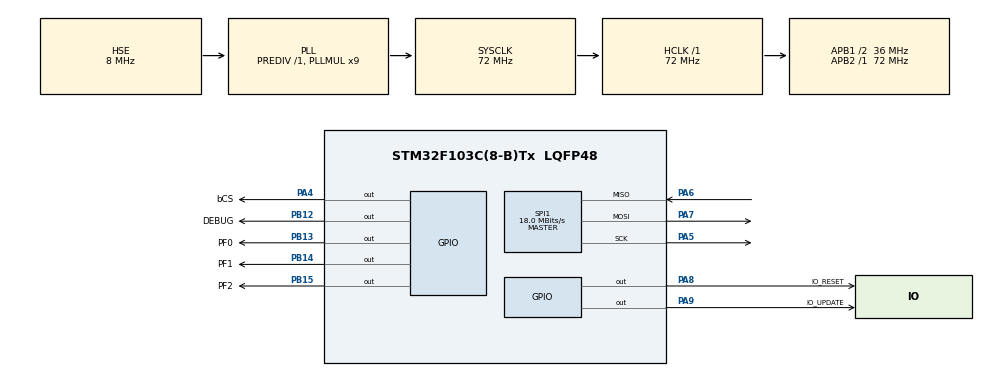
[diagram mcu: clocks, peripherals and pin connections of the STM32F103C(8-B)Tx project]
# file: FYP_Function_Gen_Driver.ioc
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Mcu.Family=STM32F1
Mcu.Name=STM32F103C(8-B)Tx
Mcu.Package=LQFP48
NVIC.PriorityGroup=NVIC_PRIORITYGROUP_4
PA13.Mode=Serial_Wire
PA13.Signal=SYS_JTMS-SWDIO
PA14.Mode=Serial_Wire
PA14.Signal=SYS_JTCK-SWCLK
PA4.GPIO_Label=bCS
PA4.Signal=GPIO_Output
PA5.Mode=Full_Duplex_Master
PA5.Signal=SPI1_SCK
PA6.Mode=Full_Duplex_Master
PA6.Signal=SPI1_MISO
PA7.Mode=Full_Duplex_Master
PA7.Signal=SPI1_MOSI
PA8.GPIO_Label=IO_RESET
PA8.Signal=GPIO_Output
PA9.GPIO_Label=IO_UPDATE
PA9.Signal=GPIO_Output
PB12.GPIO_Label=DEBUG
PB12.Signal=GPIO_Output
PB13.GPIO_Label=PF0
PB13.Signal=GPIO_Output
PB14.GPIO_Label=PF1
PB14.Signal=GPIO_Output
PB15.GPIO_Label=PF2
PB15.Signal=GPIO_Output
PD0-OSC_IN.Mode=HSE-External-Oscillator
PD0-OSC_IN.Signal=RCC_OSC_IN
PD1-OSC_OUT.Mode=HSE-External-Oscillator
PD1-OSC_OUT.Signal=RCC_OSC_OUT
ProjectManager.HeapSize=0x200
ProjectManager.StackSize=0x400
ProjectManager.TargetToolchain=MDK-ARM V5.27
RCC.AHBFreq_Value=72000000
RCC.APB1CLKDivider=RCC_HCLK_DIV2
RCC.APB1Freq_Value=36000000
RCC.APB1TimFreq_Value=72000000
RCC.APB2Freq_Value=72000000
RCC.APB2TimFreq_Value=72000000
RCC.HCLKFreq_Value=72000000
RCC.PLLMUL=RCC_PLL_MUL9
RCC.PLLSourceVirtual=RCC_PLLSOURCE_HSE
RCC.SYSCLKFreq_VALUE=72000000
RCC.SYSCLKSource=RCC_SYSCLKSOURCE_PLLCLK
RCC.USBFreq_Value=72000000
SPI1.BaudRatePrescaler=SPI_BAUDRATEPRESCALER_4
SPI1.CalculateBaudRate=18.0 MBits/s
SPI1.Direction=SPI_DIRECTION_2LINES
SPI1.Mode=SPI_MODE_MASTER
SPI1.VirtualType=VM_MASTER
board=custom

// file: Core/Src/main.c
/* USER CODE BEGIN Header */
/**
  ******************************************************************************
  * @file           : main.c
  * @brief          : Main program body
  ******************************************************************************
  * @attention
  *
  * <h2><center>&copy; Copyright (c) 2020 STMicroelectronics.
  * All rights reserved.</center></h2>
  *
  * This software component is licensed by ST under BSD 3-Clause license,
  * the "License"; You may not use this file except in compliance with the
  * License. You may obtain a copy of the License at:
  *                        opensource.org/licenses/BSD-3-Clause
  *
  ******************************************************************************
  */
/* USER CODE END Header */
#include "main.h"

/* USER CODE BEGIN PTD */
struct ad9910_reg{
	uint32_t CFR1;	//0x00
	uint32_t CFR2;	//0x01
	uint32_t CFR3;	//0x02
	uint32_t Aux_DAC_Control;	//0x03
	uint32_t IO_UPDATE;	//0x04
	uint32_t FTW;	//0x07
	uint16_t POW;	//0x08
	uint32_t ASF;	//0x09
	uint32_t Multichip_Sync; //0x0A
	uint64_t Digital_Ramp_Limit; //0x0B
	uint64_t Digital_Ramp_Step_Size; //0x0C
	uint32_t Digital_Ramp_Rate; //0x0D
	uint64_t Profile_0; // 0x0E
	uint64_t Profile_1; //0x0F
	uint64_t Profile_2; //0x10
	uint64_t Profile_3; //0x11
	uint64_t Profile_4; //0x12
	uint64_t Profile_5;	//0x13
	uint64_t Profile_6; //0x14
	uint64_t Profile_7; //0x15
	uint32_t RAM;	//0x16
};

enum REG_ADDRESS{	_CFR1 , _CFR2, _CFR3, _AUX_DAC_CONTROL, _IO_UPDATE, _FTW = 7, _POW,
							_ASF, _MULTICHIP_SYNC, _DIGITAL_RAMP_LIMIT, _DIGITAL_RAMP_STEP_SIZE,
							_DIGITAL_RAMP_RATE, _PROFILE_0, _PROFILE_1, _PROFILE_2,
							_PROFILE_3, _PROFILE_4, _PROFILE_5, _PROFILE_6, _PROFILE_7,
							_RAM
						};

enum REG_BYTE_SIZE{	_CFR1_SIZE = 4, _CFR2_SIZE = 4, _CFR3_SIZE = 4, _AUX_ADC_CONTROL_SIZE = 4,
											_IO_UPDATE_SIZE  = 4, _FTW_SIZE = 4, _POW_SIZE = 2, _ASF_SIZE = 4,
											_MULTICHIP_SYNC_SIZE = 4, _DIGITAL_RAMP_LIMIT_SIZE = 8, _DIGITAL_RAMP_STEP_SIZE_SIZE = 8,
											_DIGITAL_RAMP_RATE_SIZE = 4, _PROFILE_0_SIZE = 8, _PROFILE_1_SIZE = 8, _PROFILE_2_SIZE = 8,
											_PROFILE_3_SIZE = 8, _PROFILE_4_SIZE = 8, _PROFILE_5_SIZE = 8, _PROFILE_6_SIZE = 8,
											_PROFILE_7_SIZE = 8, _RAM_SIZE = 4
										};
/* USER CODE END PTD */

SPI_HandleTypeDef hspi1;

/* USER CODE BEGIN PV */
uint8_t tran[9] = {0};
uint32_t data[200];
struct ad9910_reg AD9910;
/* USER CODE END PV */

void SystemClock_Config(void);
static void MX_GPIO_Init(void);
static void MX_SPI1_Init(void);
/* USER CODE BEGIN PFP */
void AD9910_Init(void);
void AD9910_Reg_Write(enum REG_ADDRESS, enum REG_BYTE_SIZE,uint64_t);
void AD9910_RAM_Load_Profile_0(void);
void AD9910_IO_UPDATE(void);
void AD9910_Profile_Set(int profile);
/* USER CODE END PFP */

/* USER CODE BEGIN 0 */
void AD9910_Reg_Write(enum REG_ADDRESS reg_address, enum REG_BYTE_SIZE reg_byte_size, uint64_t content){
	HAL_GPIO_WritePin(bCS_GPIO_Port, bCS_Pin, GPIO_PIN_RESET);
	uint8_t tran[9];
	switch(reg_byte_size){
		case 2:
			tran[2] = (uint8_t) content;
			tran[1] = (uint8_t)(content >> 8);
			tran[0] = reg_address;
			HAL_SPI_Transmit(&hspi1, tran, 3, 10);
			break;
		case 4:
			tran[4] = (uint8_t) content;
			tran[3] = (uint8_t)(content >> 8);
			tran[2] = (uint8_t)(content >> 16);
			tran[1] = (uint8_t)(content >> 24);
			tran[0] = reg_address;
			HAL_SPI_Transmit(&hspi1, tran, 5, 10);
			break;
		case 8:
			tran[8] = (uint8_t) content;
			tran[7] = (uint8_t)(content >> 8);
			tran[6] = (uint8_t)(content >> 16);
			tran[5] = (uint8_t)(content >> 24);
			tran[4] = (uint8_t)(content >> 32);
			tran[3] = (uint8_t)(content >> 40);
			tran[2] = (uint8_t)(content >> 48);
			tran[1] = (uint8_t)(content >> 56);
			tran[0] = reg_address;
			HAL_SPI_Transmit(&hspi1, tran, 9, 10);
			break;
	}
	HAL_GPIO_WritePin(bCS_GPIO_Port, bCS_Pin, GPIO_PIN_SET);
}

void AD9910_Init(){
	AD9910.CFR1 = 0xC0000002;
	AD9910.CFR2 = 0x00C80820;
	AD9910.CFR3 = 0x1F3FC000;
	AD9910.Aux_DAC_Control = 0x00007F7F;
	AD9910.IO_UPDATE = 0x00000002;
	AD9910.FTW = 0x0;
	AD9910.POW = 0x0;
	AD9910.ASF = 0x0;
	AD9910.Multichip_Sync = 0x0;
	AD9910.Digital_Ramp_Limit = 0x0;
	AD9910.Digital_Ramp_Step_Size = 0x0;
	AD9910.Digital_Ramp_Rate = 0x0;
	AD9910.Profile_0 = 0x08002DFFC0000004;

	AD9910_Reg_Write(_CFR1, _CFR1_SIZE, (uint64_t)AD9910.CFR1);
	AD9910_Reg_Write(_CFR2, _CFR2_SIZE, (uint64_t)AD9910.CFR2);
	AD9910_Reg_Write(_CFR3, _CFR3_SIZE, (uint64_t)AD9910.CFR3);
	AD9910_Reg_Write(_AUX_DAC_CONTROL, _AUX_ADC_CONTROL_SIZE, (uint64_t)AD9910.Aux_DAC_Control);
	AD9910_Reg_Write(_IO_UPDATE, _IO_UPDATE_SIZE, (uint64_t)AD9910.IO_UPDATE);
	AD9910_Reg_Write(_FTW, _FTW_SIZE, (uint64_t)AD9910.FTW);
	AD9910_Reg_Write(_POW, _POW_SIZE, (uint64_t)AD9910.POW);
	AD9910_Reg_Write(_ASF, _ASF_SIZE, (uint64_t)AD9910.ASF);
	AD9910_Reg_Write(_MULTICHIP_SYNC, _MULTICHIP_SYNC_SIZE, AD9910.Multichip_Sync);
	AD9910_Reg_Write(_DIGITAL_RAMP_LIMIT, _DIGITAL_RAMP_LIMIT_SIZE, AD9910.Digital_Ramp_Limit);
	AD9910_Reg_Write(_DIGITAL_RAMP_STEP_SIZE, _DIGITAL_RAMP_STEP_SIZE_SIZE, AD9910.Digital_Ramp_Step_Size);
	AD9910_Reg_Write(_DIGITAL_RAMP_RATE, _DIGITAL_RAMP_RATE_SIZE, AD9910.Digital_Ramp_Rate);
	AD9910_Reg_Write(_PROFILE_0, _PROFILE_0_SIZE, AD9910.Profile_0);
	AD9910_IO_UPDATE();
}

void AD9910_RAM_Load_Profile_0(){
	//Reset RAM Enable bit
	AD9910.CFR1 = 0x40000002;
	AD9910_Reg_Write(_CFR1, _CFR1_SIZE, (uint64_t)AD9910.CFR1);
	AD9910_IO_UPDATE();

	AD9910_Profile_Set(0);

	int i = 0;
	for(; i < 100; i++){
		data[i] = 0xFFFFFFFF;
	}
	for(; i < 200; i++){
		data[i] = 0x0;
	}
	for(i = 0; i < 200; i++){
		AD9910_Reg_Write(_RAM, _RAM_SIZE, data[i]);
		AD9910_IO_UPDATE();
	}

	//Set RAM Enable bit
	AD9910.CFR1 = 0xC0000002;
	AD9910_Reg_Write(_CFR1, _CFR1_SIZE, (uint64_t)AD9910.CFR1);
	AD9910_IO_UPDATE();
}

void AD9910_IO_UPDATE(){
	HAL_GPIO_WritePin(IO_UPDATE_GPIO_Port, IO_UPDATE_Pin, GPIO_PIN_SET);
	HAL_GPIO_WritePin(IO_UPDATE_GPIO_Port, IO_UPDATE_Pin, GPIO_PIN_RESET);
}

void AD9910_Profile_Set(int profile){
	switch(profile){
		case 0:
			HAL_GPIO_WritePin(PF2_GPIO_Port, PF2_Pin, GPIO_PIN_RESET);
			HAL_GPIO_WritePin(PF1_GPIO_Port, PF1_Pin, GPIO_PIN_RESET);
			HAL_GPIO_WritePin(PF0_GPIO_Port, PF0_Pin, GPIO_PIN_RESET);
			break;
		case 1:
			HAL_GPIO_WritePin(PF2_GPIO_Port, PF2_Pin, GPIO_PIN_RESET);
			HAL_GPIO_WritePin(PF1_GPIO_Port, PF1_Pin, GPIO_PIN_RESET);
			HAL_GPIO_WritePin(PF0_GPIO_Port, PF0_Pin, GPIO_PIN_SET);
			break;
		case 2:
			HAL_GPIO_WritePin(PF2_GPIO_Port, PF2_Pin, GPIO_PIN_RESET);
			HAL_GPIO_WritePin(PF1_GPIO_Port, PF1_Pin, GPIO_PIN_SET);
			HAL_GPIO_WritePin(PF0_GPIO_Port, PF0_Pin, GPIO_PIN_RESET);
			break;
		case 3:
			HAL_GPIO_WritePin(PF2_GPIO_Port, PF2_Pin, GPIO_PIN_RESET);
			HAL_GPIO_WritePin(PF1_GPIO_Port, PF1_Pin, GPIO_PIN_SET);
			HAL_GPIO_WritePin(PF0_GPIO_Port, PF0_Pin, GPIO_PIN_SET);
			break;
		case 4:
			HAL_GPIO_WritePin(PF2_GPIO_Port, PF2_Pin, GPIO_PIN_SET);
			HAL_GPIO_WritePin(PF1_GPIO_Port, PF1_Pin, GPIO_PIN_RESET);
			HAL_GPIO_WritePin(PF0_GPIO_Port, PF0_Pin, GPIO_PIN_RESET);
			break;
		case 5:
			HAL_GPIO_WritePin(PF2_GPIO_Port, PF2_Pin, GPIO_PIN_SET);
			HAL_GPIO_WritePin(PF1_GPIO_Port, PF1_Pin, GPIO_PIN_RESET);
			HAL_GPIO_WritePin(PF0_GPIO_Port, PF0_Pin, GPIO_PIN_SET);
			break;
		case 6:
			HAL_GPIO_WritePin(PF2_GPIO_Port, PF2_Pin, GPIO_PIN_SET);
			HAL_GPIO_WritePin(PF1_GPIO_Port, PF1_Pin, GPIO_PIN_SET);
			HAL_GPIO_WritePin(PF0_GPIO_Port, PF0_Pin, GPIO_PIN_RESET);
			break;
		default: //profile 7
			HAL_GPIO_WritePin(PF2_GPIO_Port, PF2_Pin, GPIO_PIN_SET);
			HAL_GPIO_WritePin(PF1_GPIO_Port, PF1_Pin, GPIO_PIN_SET);
			HAL_GPIO_WritePin(PF0_GPIO_Port, PF0_Pin, GPIO_PIN_SET);
			break;
	}
}
/* USER CODE END 0 */

int main(void)
{

  /* MCU Configuration--------------------------------------------------------*/

  /* Reset of all peripherals, Initializes the Flash interface and the Systick. */
  HAL_Init();

  /* Configure the system clock */
  SystemClock_Config();

  /* Initialize all configured peripherals */
  MX_GPIO_Init();
  MX_SPI1_Init();
  /* USER CODE BEGIN 2 */
	HAL_Delay(500);
	AD9910_Init();
	AD9910_RAM_Load_Profile_0();
  /* USER CODE END 2 */

  /* Infinite loop */
  while (1)
  {
		HAL_GPIO_TogglePin(DEBUG_GPIO_Port, DEBUG_Pin);
		HAL_Delay(100);
  }
}

void SystemClock_Config(void)
{
  RCC_OscInitTypeDef RCC_OscInitStruct = {0};
  RCC_ClkInitTypeDef RCC_ClkInitStruct = {0};

  /** Initializes the RCC Oscillators according to the specified parameters
  * in the RCC_OscInitTypeDef structure.
  */
  RCC_OscInitStruct.OscillatorType = RCC_OSCILLATORTYPE_HSE;
  RCC_OscInitStruct.HSEState = RCC_HSE_ON;
  RCC_OscInitStruct.HSEPredivValue = RCC_HSE_PREDIV_DIV1;
  RCC_OscInitStruct.HSIState = RCC_HSI_ON;
  RCC_OscInitStruct.PLL.PLLState = RCC_PLL_ON;
  RCC_OscInitStruct.PLL.PLLSource = RCC_PLLSOURCE_HSE;
  RCC_OscInitStruct.PLL.PLLMUL = RCC_PLL_MUL9;
  if (HAL_RCC_OscConfig(&RCC_OscInitStruct) != HAL_OK)
  {
    Error_Handler();
  }
  /** Initializes the CPU, AHB and APB buses clocks
  */
  RCC_ClkInitStruct.ClockType = RCC_CLOCKTYPE_HCLK|RCC_CLOCKTYPE_SYSCLK
                              |RCC_CLOCKTYPE_PCLK1|RCC_CLOCKTYPE_PCLK2;
  RCC_ClkInitStruct.SYSCLKSource = RCC_SYSCLKSOURCE_PLLCLK;
  RCC_ClkInitStruct.AHBCLKDivider = RCC_SYSCLK_DIV1;
  RCC_ClkInitStruct.APB1CLKDivider = RCC_HCLK_DIV2;
  RCC_ClkInitStruct.APB2CLKDivider = RCC_HCLK_DIV1;

  if (HAL_RCC_ClockConfig(&RCC_ClkInitStruct, FLASH_LATENCY_2) != HAL_OK)
  {
    Error_Handler();
  }
}

static void MX_SPI1_Init(void)
{

  /* SPI1 parameter configuration*/
  hspi1.Instance = SPI1;
  hspi1.Init.Mode = SPI_MODE_MASTER;
  hspi1.Init.Direction = SPI_DIRECTION_2LINES;
  hspi1.Init.DataSize = SPI_DATASIZE_8BIT;
  hspi1.Init.CLKPolarity = SPI_POLARITY_LOW;
  hspi1.Init.CLKPhase = SPI_PHASE_1EDGE;
  hspi1.Init.NSS = SPI_NSS_SOFT;
  hspi1.Init.BaudRatePrescaler = SPI_BAUDRATEPRESCALER_4;
  hspi1.Init.FirstBit = SPI_FIRSTBIT_MSB;
  hspi1.Init.TIMode = SPI_TIMODE_DISABLE;
  hspi1.Init.CRCCalculation = SPI_CRCCALCULATION_DISABLE;
  hspi1.Init.CRCPolynomial = 10;
  if (HAL_SPI_Init(&hspi1) != HAL_OK)
  {
    Error_Handler();
  }

}

static void MX_GPIO_Init(void)
{
  GPIO_InitTypeDef GPIO_InitStruct = {0};

  /* GPIO Ports Clock Enable */
  __HAL_RCC_GPIOD_CLK_ENABLE();
  __HAL_RCC_GPIOA_CLK_ENABLE();
  __HAL_RCC_GPIOB_CLK_ENABLE();

  /*Configure GPIO pin Output Level */
  HAL_GPIO_WritePin(GPIOA, bCS_Pin|IO_RESET_Pin|IO_UPDATE_Pin, GPIO_PIN_RESET);

  /*Configure GPIO pin Output Level */
  HAL_GPIO_WritePin(GPIOB, DEBUG_Pin|PF0_Pin|PF1_Pin|PF2_Pin, GPIO_PIN_RESET);

  /*Configure GPIO pins : bCS_Pin IO_RESET_Pin IO_UPDATE_Pin */
  GPIO_InitStruct.Pin = bCS_Pin|IO_RESET_Pin|IO_UPDATE_Pin;
  GPIO_InitStruct.Mode = GPIO_MODE_OUTPUT_PP;
  GPIO_InitStruct.Pull = GPIO_NOPULL;
  GPIO_InitStruct.Speed = GPIO_SPEED_FREQ_LOW;
  HAL_GPIO_Init(GPIOA, &GPIO_InitStruct);

  /*Configure GPIO pins : DEBUG_Pin PF0_Pin PF1_Pin PF2_Pin */
  GPIO_InitStruct.Pin = DEBUG_Pin|PF0_Pin|PF1_Pin|PF2_Pin;
  GPIO_InitStruct.Mode = GPIO_MODE_OUTPUT_PP;
  GPIO_InitStruct.Pull = GPIO_NOPULL;
  GPIO_InitStruct.Speed = GPIO_SPEED_FREQ_LOW;
  HAL_GPIO_Init(GPIOB, &GPIO_InitStruct);

}

void Error_Handler(void)
{
}

/************************ (C) COPYRIGHT STMicroelectronics *****END OF FILE****/
